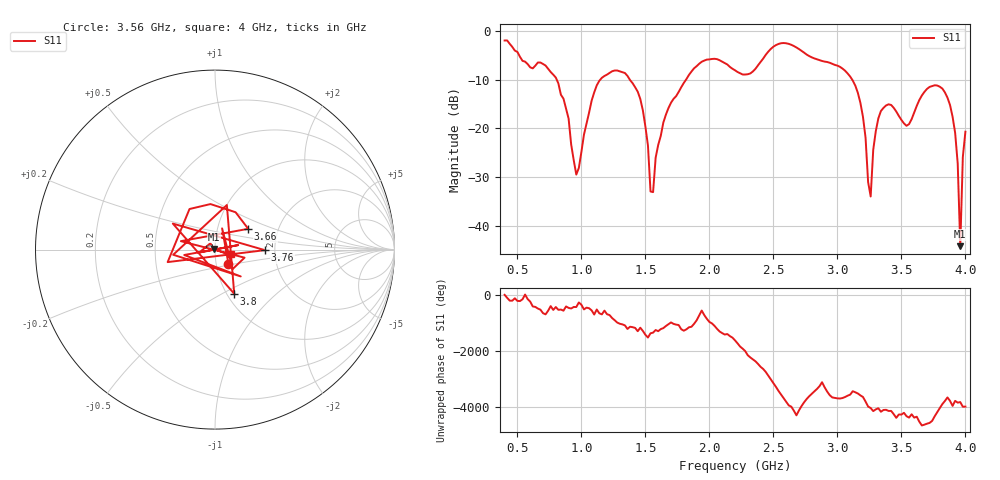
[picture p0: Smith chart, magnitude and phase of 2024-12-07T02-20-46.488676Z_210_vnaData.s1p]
!Created with skrf (http://scikit-rf.org).
# Hz S RI R 50.0
!freq ReS11 ImS11
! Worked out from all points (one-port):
!   181 points, 400 MHz to 4 GHz, reference 50 ohm
!   lowest |S11| = -44.2 dB at 3.96 GHz (marker M1), VSWR 1.01, Z = 49.5 + j0.33 ohm
!   |S11| at or under -10 dB: 807.6 MHz to 1.147 GHz (339.1 MHz wide, 34.7 % of centre); 1.379 GHz to 1.817 GHz (438 MHz wide, 27.4 % of centre); 3.116 GHz to end of sweep
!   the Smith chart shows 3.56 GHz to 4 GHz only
!   S11 on the Smith chart (normalised r, x): 3.56 GHz: 1.15, -0.19; 3.66 GHz: 1.41, +0.34; 3.76 GHz: 1.77, -0.01; 3.8 GHz: 1.08, -0.57; 4 GHz: 1.20, -0.05
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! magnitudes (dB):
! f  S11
! 400 MHz  -1.9
! 720 MHz  -7.1
! 860 MHz  -13.9
! 960 MHz  -29.5
! 1.12 GHz  -11.1
! 1.3 GHz  -8.3
! 1.46 GHz  -13.9
! 1.52 GHz  -23.5
! 1.54 GHz  -32.9
! 1.64 GHz  -18.8
! 1.76 GHz  -12.5
! 1.96 GHz  -6.1
! 2.2 GHz  -8.0
! 2.66 GHz  -3.1
! 3.1 GHz  -9.3
! 3.2 GHz  -17.7
! 3.26 GHz  -34.0
! 3.28 GHz  -24.4
! 3.34 GHz  -16.4
! 3.56 GHz  -19.1
! 3.66 GHz  -13.2
! 3.76 GHz  -11.1
! 3.8 GHz  -11.4
! 3.92 GHz  -20.9
! 3.94 GHz  -27.2
! 3.96 GHz  -44.2
! 3.98 GHz  -25.8
! 4 GHz  -20.7
